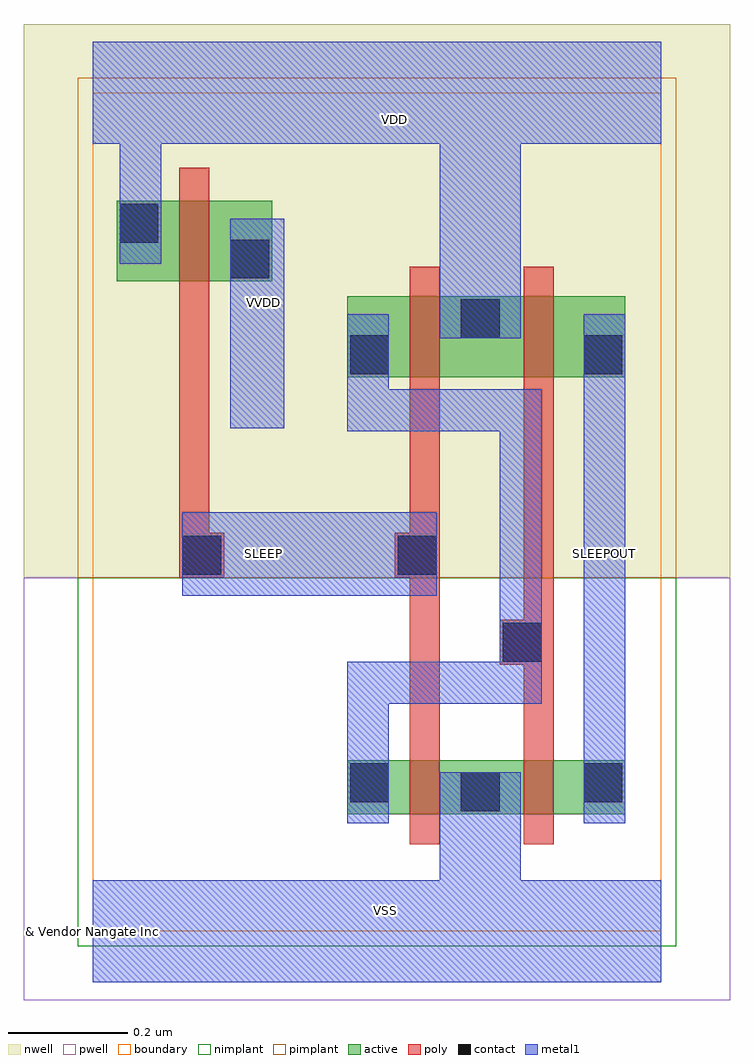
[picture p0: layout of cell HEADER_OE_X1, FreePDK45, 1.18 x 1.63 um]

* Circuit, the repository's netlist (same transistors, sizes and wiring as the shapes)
* 
* ******************************************************************************
* *                                                                            *
* *                   Copyright (C) 2004-2011, Nangate Inc.                    *
* *                           All rights reserved.                             *
* *                                                                            *
* * Nangate and the Nangate logo are trademarks of Nangate Inc.                *
* *                                                                            *
* * All trademarks, logos, software marks, and trade names (collectively the   *
* * "Marks") in this program are proprietary to Nangate or other respective    *
* * owners that have granted Nangate the right and license to use such Marks.  *
* * You are not permitted to use the Marks without the prior written consent   *
* * of Nangate or such third party that may own the Marks.                     *
* *                                                                            *
* * This file has been provided pursuant to a License Agreement containing     *
* * restrictions on its use. This file contains valuable trade secrets and     *
* * proprietary information of Nangate Inc., and is protected by U.S. and      *
* * international laws and/or treaties.                                        *
* *                                                                            *
* * The copyright notice(s) in this file does not indicate actual or intended  *
* * publication of this file.                                                  *
* *                                                                            *
* *     NGLibraryCreator, v2010.08-HR32-SP3-2010-08-05 - build 1009061800      *
* *                                                                            *
* ******************************************************************************
* 
* 
* Running on server08.nangate.com for user Giancarlo Franciscatto (gfr).
* Local time is now Thu, 6 Jan 2011, 19:45:44.
* Main process id is 3320.
*
********************************************************************************
*                                                                              *
* Cellname:   HEADER_OE_X1.                                                    *
*                                                                              *
* Technology: NCSU FreePDK 45nm.                                               *
* Format:     Cdl.                                                             *
*                                                                              *
* Written on server08.nangate.com for user Giancarlo Franciscatto (gfr)        *
* at 19:45:44 on Thu, 6 Jan 2011.                                              *
*                                                                              *
********************************************************************************
.SUBCKT HEADER_OE_X1 SLEEP SLEEPOUT VDD VSS VVDD 
*.PININFO SLEEP:I SLEEPOUT:O VDD:P VSS:G VVDD:P 
*.EQN SLEEPOUT=SLEEP
M_i_0 VSS SLEEP net_000 VSS NMOS_VTL W=0.090000U L=0.050000U
M_i_7 SLEEPOUT net_000 VSS VSS NMOS_VTL W=0.090000U L=0.050000U
M_i_13 VVDD SLEEP VDD VDD PMOS_VTL W=0.135000U L=0.050000U
M_i_20 VDD SLEEP net_000 VDD PMOS_VTL W=0.135000U L=0.050000U
M_i_27 SLEEPOUT net_000 VDD VDD PMOS_VTL W=0.135000U L=0.050000U
.ENDS 

********************************************************************************
*
* END
*
********************************************************************************

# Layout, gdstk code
import gdstk
lib = gdstk.Library(unit=1e-6, precision=1e-10)
def R(c, l, rs):  # rectangles x0, y0, x1, y1
    for r in rs: c.add(gdstk.rectangle(r[:2], r[2:], *l))
def P(c, l, *ps):  # polygons
    for p in ps: c.add(gdstk.Polygon(p, *l))
active = (1, 0)
pwell = (2, 0)
nwell = (3, 0)
nimplant = (4, 0)
pimplant = (5, 0)
poly = (9, 0)
contact = (10, 0)
metal1 = (11, 0)
boundary = (235, 0)

header_oe_x1 = lib.new_cell('HEADER_OE_X1')
R(header_oe_x1, active, [(0.425,0.195,0.89,0.285), (0.425,0.925,0.89,1.06), (0.04,1.085,0.3,1.22)])
R(header_oe_x1, pwell, [(-0.115,-0.115,1.065,0.59)])
R(header_oe_x1, nwell, [(-0.115,0.59,1.065,1.515)])
R(header_oe_x1, nimplant, [(-0.025,-0.025,0.975,0.59)])
R(header_oe_x1, pimplant, [(-0.025,0.59,0.975,1.425)])
P(header_oe_x1, poly, [(0.145,0.59),(0.22,0.59),(0.22,0.665),(0.195,0.665),(0.195,1.275),(0.145,1.275)],
  [(0.505,0.59),(0.53,0.59),(0.53,0.145),(0.58,0.145),(0.58,1.11),(0.53,1.11),(0.53,0.665),(0.505,0.665)],
  [(0.68,0.445),(0.72,0.445),(0.72,0.145),(0.77,0.145),(0.77,1.11),(0.72,1.11),(0.72,0.52),(0.68,0.52)])
R(header_oe_x1, contact, [(0.615,0.2,0.68,0.265), (0.43,0.215,0.495,0.28), (0.82,0.215,0.885,0.28), (0.685,0.45,0.75,0.515), (0.15,0.595,0.215,0.66), (0.51,0.595,0.575,0.66), (0.43,0.93,0.495,0.995), (0.82,0.93,0.885,0.995), (0.615,0.99,0.68,1.055), (0.23,1.09,0.295,1.155), (0.045,1.15,0.11,1.215)])
R(header_oe_x1, metal1, [(0.82,0.18,0.89,1.03), (0.15,0.56,0.575,0.7), (0.23,0.84,0.32,1.19)])
P(header_oe_x1, metal1, [(0,-0.085),(0.95,-0.085),(0.95,0.085),(0.715,0.085),(0.715,0.265),(0.58,0.265),(0.58,0.085),(0,0.085)],
  [(0,1.315),(0.045,1.315),(0.045,1.115),(0.115,1.115),(0.115,1.315),(0.58,1.315),(0.58,0.99),(0.715,0.99),(0.715,1.315),(0.95,1.315),(0.95,1.485),(0,1.485)],
  [(0.425,0.835),(0.68,0.835),(0.68,0.45),(0.425,0.45),(0.425,0.18),(0.495,0.18),(0.495,0.38),(0.75,0.38),(0.75,0.905),(0.495,0.905),(0.495,1.03),(0.425,1.03)])
R(header_oe_x1, boundary, [(0,0,0.95,1.4)])
header_oe_x1.add(gdstk.Label('VDD', (0.505,1.355), layer=11, texttype=0))
header_oe_x1.add(gdstk.Label('VVDD', (0.285,1.05), layer=11, texttype=0))
header_oe_x1.add(gdstk.Label('VSS', (0.49,0.035), layer=11, texttype=0))
header_oe_x1.add(gdstk.Label('SLEEP', (0.285,0.63), layer=11, texttype=0))
header_oe_x1.add(gdstk.Label('SLEEPOUT', (0.855,0.63), layer=11, texttype=0))
header_oe_x1.add(gdstk.Label('& Vendor Nangate Inc', (0,0), layer=63, texttype=63))
header_oe_x1.add(gdstk.Label('& Product Open Cell Library', (0,0), layer=63, texttype=63))
header_oe_x1.add(gdstk.Label('& Version 2010_12', (0,0), layer=63, texttype=63))
header_oe_x1.add(gdstk.Label('& Instance HEADER_OE_X1', (0,0), layer=63, texttype=63))

lib.write_gds('HEADER_OE_X1.gds')
